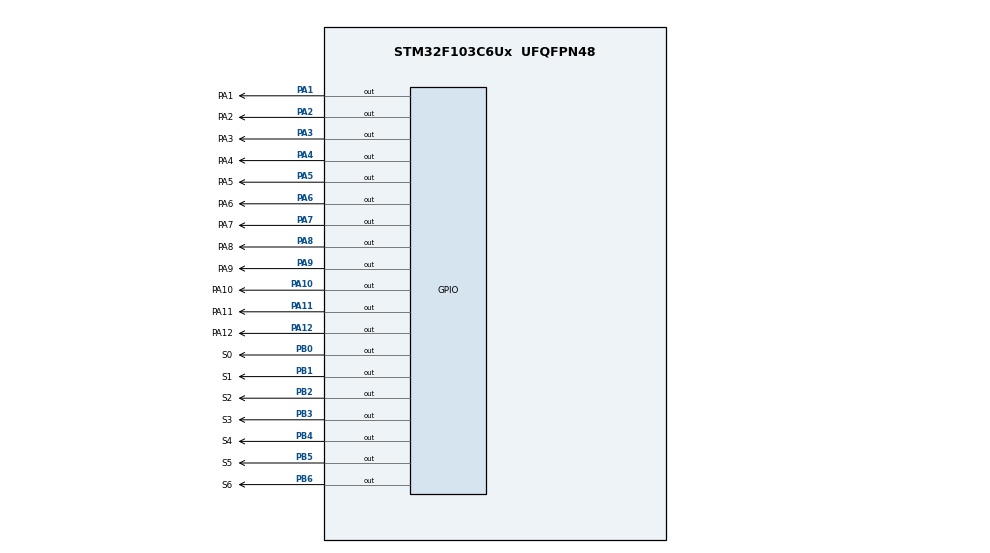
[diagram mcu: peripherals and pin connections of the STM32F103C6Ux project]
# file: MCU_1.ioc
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Mcu.Family=STM32F1
Mcu.Name=STM32F103C6Ux
Mcu.Package=UFQFPN48
NVIC.PriorityGroup=NVIC_PRIORITYGROUP_4
PA1.GPIO_Label=PA1
PA1.Signal=GPIO_Output
PA10.GPIO_Label=PA10
PA10.Signal=GPIO_Output
PA11.GPIO_Label=PA11
PA11.Signal=GPIO_Output
PA12.GPIO_Label=PA12
PA12.Signal=GPIO_Output
PA13.Mode=Serial_Wire
PA13.Signal=SYS_JTMS-SWDIO
PA14.Mode=Serial_Wire
PA14.Signal=SYS_JTCK-SWCLK
PA2.GPIO_Label=PA2
PA2.Signal=GPIO_Output
PA3.GPIO_Label=PA3
PA3.Signal=GPIO_Output
PA4.GPIO_Label=PA4
PA4.Signal=GPIO_Output
PA5.GPIO_Label=PA5
PA5.Signal=GPIO_Output
PA6.GPIO_Label=PA6
PA6.Signal=GPIO_Output
PA7.GPIO_Label=PA7
PA7.Signal=GPIO_Output
PA8.GPIO_Label=PA8
PA8.Signal=GPIO_Output
PA9.GPIO_Label=PA9
PA9.Signal=GPIO_Output
PB0.GPIO_Label=S0
PB0.Signal=GPIO_Output
PB1.GPIO_Label=S1
PB1.Signal=GPIO_Output
PB2.GPIO_Label=S2
PB2.Signal=GPIO_Output
PB3.GPIO_Label=S3
PB3.Signal=GPIO_Output
PB4.GPIO_Label=S4
PB4.Signal=GPIO_Output
PB5.GPIO_Label=S5
PB5.Signal=GPIO_Output
PB6.GPIO_Label=S6
PB6.Signal=GPIO_Output
ProjectManager.HeapSize=0x200
ProjectManager.StackSize=0x400
ProjectManager.TargetToolchain=STM32CubeIDE
RCC.APB1Freq_Value=8000000
RCC.APB2Freq_Value=8000000
board=custom

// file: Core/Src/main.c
/* USER CODE BEGIN Header */
/**
  ******************************************************************************
  * @file           : main.c
  * @brief          : Main program body
  ******************************************************************************
  * @attention
  *
  * Copyright (c) 2023 STMicroelectronics.
  * All rights reserved.
  *
  * This software is licensed under terms that can be found in the LICENSE file
  * in the root directory of this software component.
  * If no LICENSE file comes with this software, it is provided AS-IS.
  *
  ******************************************************************************
  */
/* USER CODE END Header */
#include "main.h"

void SystemClock_Config(void);
static void MX_GPIO_Init(void);

/* USER CODE BEGIN 0 */
void Ex_Init(){
	HAL_GPIO_WritePin(PA1_GPIO_Port, PA1_Pin, SET);
	HAL_GPIO_WritePin(PA2_GPIO_Port, PA2_Pin,SET);
	HAL_GPIO_WritePin(PA3_GPIO_Port, PA3_Pin, SET);
	HAL_GPIO_WritePin(PA4_GPIO_Port, PA4_Pin, SET);
	HAL_GPIO_WritePin(PA5_GPIO_Port, PA5_Pin, SET);
	HAL_GPIO_WritePin(PA6_GPIO_Port, PA6_Pin, SET);
	HAL_GPIO_WritePin(PA7_GPIO_Port, PA7_Pin, SET);
}
void Ex1(){
	  HAL_GPIO_WritePin(PA5_GPIO_Port, PA5_Pin, RESET);
	  HAL_GPIO_WritePin(PA6_GPIO_Port, PA6_Pin, SET);
	  HAL_Delay(2000);
	  HAL_GPIO_WritePin(PA5_GPIO_Port, PA5_Pin, SET);
	  HAL_GPIO_WritePin(PA6_GPIO_Port, PA6_Pin, RESET);
	  HAL_Delay(2000);
}

void Ex2(){
	HAL_GPIO_WritePin(PA5_GPIO_Port, PA5_Pin, RESET);
	HAL_GPIO_WritePin(PA6_GPIO_Port, PA6_Pin, SET);
	HAL_GPIO_WritePin(PA7_GPIO_Port, PA7_Pin, SET);
	HAL_Delay(5000);
	HAL_GPIO_WritePin(PA5_GPIO_Port, PA5_Pin, SET);
	HAL_GPIO_WritePin(PA6_GPIO_Port, PA6_Pin, RESET);
	HAL_GPIO_WritePin(PA7_GPIO_Port, PA7_Pin, SET);
	HAL_Delay(2000);
	HAL_GPIO_WritePin(PA5_GPIO_Port, PA5_Pin, SET);
	HAL_GPIO_WritePin(PA6_GPIO_Port, PA6_Pin, SET);
	HAL_GPIO_WritePin(PA7_GPIO_Port, PA7_Pin, RESET);
	HAL_Delay(3000);
}

void Ex4_display7SEG(int num){
  	uint8_t signal[10] = {0xC0, 0xF9, 0xA4, 0xB0, 0x99, 0x12, 0x82, 0xF8, 0x80, 0x90};
  	for(int i = 0; i < 7; i++ ){
  		HAL_GPIO_WritePin(S0_GPIO_Port, S0_Pin << i, (signal[num] >> i) & 0x01);
  	}
}

/* USER CODE END 0 */

int main(void)
{

  /* MCU Configuration--------------------------------------------------------*/

  /* Reset of all peripherals, Initializes the Flash interface and the Systick. */
  HAL_Init();

  /* Configure the system clock */
  SystemClock_Config();

  /* Initialize all configured peripherals */
  MX_GPIO_Init();

  /* Infinite loop */
  /* USER CODE BEGIN WHILE */
  Ex_Init();
  int counter = 5;
  int init = 0;
  while (1)
  {
    /* USER CODE END WHILE */

    /* USER CODE BEGIN 3 */
	Ex4_display7SEG(counter--);
	switch(init){
	case 0:
		HAL_GPIO_WritePin(PA1_GPIO_Port, PA1_Pin, RESET);
		HAL_GPIO_WritePin(PA2_GPIO_Port, PA2_Pin, SET);
		HAL_GPIO_WritePin(PA3_GPIO_Port, PA3_Pin, SET);

		HAL_GPIO_WritePin(PA4_GPIO_Port, PA4_Pin, SET);
		HAL_GPIO_WritePin(PA5_GPIO_Port, PA5_Pin, SET);
		HAL_GPIO_WritePin(PA6_GPIO_Port, PA6_Pin, RESET);
		if(counter == 2 ){
			init++;
		}
		break;
	case 1:
		HAL_GPIO_WritePin(PA1_GPIO_Port, PA1_Pin, RESET);
		HAL_GPIO_WritePin(PA2_GPIO_Port, PA2_Pin, SET);
		HAL_GPIO_WritePin(PA3_GPIO_Port, PA3_Pin, SET);

		HAL_GPIO_WritePin(PA4_GPIO_Port, PA4_Pin, SET);
		HAL_GPIO_WritePin(PA5_GPIO_Port, PA5_Pin, RESET);
		HAL_GPIO_WritePin(PA6_GPIO_Port, PA6_Pin, SET);
		if(counter <= 0){
			init++;
			counter = 3;
		}
		break;
	case 2:
		HAL_GPIO_WritePin(PA1_GPIO_Port, PA1_Pin, SET);
		HAL_GPIO_WritePin(PA2_GPIO_Port, PA2_Pin, SET);
		HAL_GPIO_WritePin(PA3_GPIO_Port, PA3_Pin, RESET);

		HAL_GPIO_WritePin(PA4_GPIO_Port, PA4_Pin, RESET);
		HAL_GPIO_WritePin(PA5_GPIO_Port, PA5_Pin, SET);
		HAL_GPIO_WritePin(PA6_GPIO_Port, PA6_Pin, SET);
		if(counter <= 0){
			init++;
			counter = 2;
		}
		break;
	case 3:
		HAL_GPIO_WritePin(PA1_GPIO_Port, PA1_Pin, SET);
		HAL_GPIO_WritePin(PA2_GPIO_Port, PA2_Pin, RESET);
		HAL_GPIO_WritePin(PA3_GPIO_Port, PA3_Pin, SET);

		HAL_GPIO_WritePin(PA4_GPIO_Port, PA4_Pin, RESET);
		HAL_GPIO_WritePin(PA5_GPIO_Port, PA5_Pin, SET);
		HAL_GPIO_WritePin(PA6_GPIO_Port, PA6_Pin, SET);
		if(counter <= 0){
			init = 0;
			counter = 5;
		}
		break;
	default:
		break;
	}

	HAL_Delay(1000);

  }
  /* USER CODE END 3 */
}

void SystemClock_Config(void)
{
  RCC_OscInitTypeDef RCC_OscInitStruct = {0};
  RCC_ClkInitTypeDef RCC_ClkInitStruct = {0};

  /** Initializes the RCC Oscillators according to the specified parameters
  * in the RCC_OscInitTypeDef structure.
  */
  RCC_OscInitStruct.OscillatorType = RCC_OSCILLATORTYPE_HSI;
  RCC_OscInitStruct.HSIState = RCC_HSI_ON;
  RCC_OscInitStruct.HSICalibrationValue = RCC_HSICALIBRATION_DEFAULT;
  RCC_OscInitStruct.PLL.PLLState = RCC_PLL_NONE;
  if (HAL_RCC_OscConfig(&RCC_OscInitStruct) != HAL_OK)
  {
    Error_Handler();
  }

  /** Initializes the CPU, AHB and APB buses clocks
  */
  RCC_ClkInitStruct.ClockType = RCC_CLOCKTYPE_HCLK|RCC_CLOCKTYPE_SYSCLK
                              |RCC_CLOCKTYPE_PCLK1|RCC_CLOCKTYPE_PCLK2;
  RCC_ClkInitStruct.SYSCLKSource = RCC_SYSCLKSOURCE_HSI;
  RCC_ClkInitStruct.AHBCLKDivider = RCC_SYSCLK_DIV1;
  RCC_ClkInitStruct.APB1CLKDivider = RCC_HCLK_DIV1;
  RCC_ClkInitStruct.APB2CLKDivider = RCC_HCLK_DIV1;

  if (HAL_RCC_ClockConfig(&RCC_ClkInitStruct, FLASH_LATENCY_0) != HAL_OK)
  {
    Error_Handler();
  }
}

static void MX_GPIO_Init(void)
{
  GPIO_InitTypeDef GPIO_InitStruct = {0};

  /* GPIO Ports Clock Enable */
  __HAL_RCC_GPIOA_CLK_ENABLE();
  __HAL_RCC_GPIOB_CLK_ENABLE();

  /*Configure GPIO pin Output Level */
  HAL_GPIO_WritePin(GPIOA, PA1_Pin|PA2_Pin|PA3_Pin|PA4_Pin
                          |PA5_Pin|PA6_Pin|PA7_Pin, GPIO_PIN_RESET);

  /*Configure GPIO pin Output Level */
  HAL_GPIO_WritePin(GPIOB, S0_Pin|S1_Pin|S2_Pin|S3_Pin
                          |S4_Pin|S5_Pin|S6_Pin, GPIO_PIN_RESET);

  /*Configure GPIO pins : PA1_Pin PA2_Pin PA3_Pin PA4_Pin
                           PA5_Pin PA6_Pin PA7_Pin */
  GPIO_InitStruct.Pin = PA1_Pin|PA2_Pin|PA3_Pin|PA4_Pin
                          |PA5_Pin|PA6_Pin|PA7_Pin;
  GPIO_InitStruct.Mode = GPIO_MODE_OUTPUT_PP;
  GPIO_InitStruct.Pull = GPIO_NOPULL;
  GPIO_InitStruct.Speed = GPIO_SPEED_FREQ_LOW;
  HAL_GPIO_Init(GPIOA, &GPIO_InitStruct);

  /*Configure GPIO pins : S0_Pin S1_Pin S2_Pin S3_Pin
                           S4_Pin S5_Pin S6_Pin */
  GPIO_InitStruct.Pin = S0_Pin|S1_Pin|S2_Pin|S3_Pin
                          |S4_Pin|S5_Pin|S6_Pin;
  GPIO_InitStruct.Mode = GPIO_MODE_OUTPUT_PP;
  GPIO_InitStruct.Pull = GPIO_NOPULL;
  GPIO_InitStruct.Speed = GPIO_SPEED_FREQ_LOW;
  HAL_GPIO_Init(GPIOB, &GPIO_InitStruct);

}

void Error_Handler(void)
{
  __disable_irq();
  while (1)
  {
  }
}
